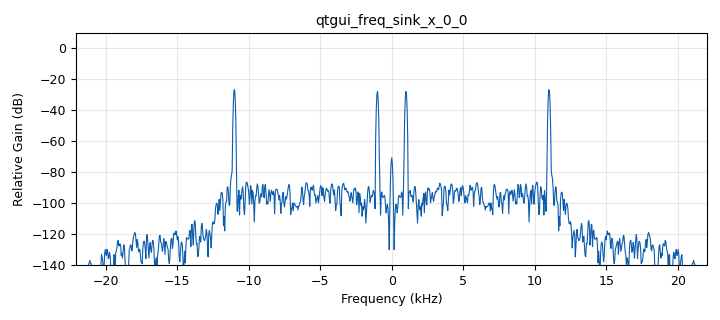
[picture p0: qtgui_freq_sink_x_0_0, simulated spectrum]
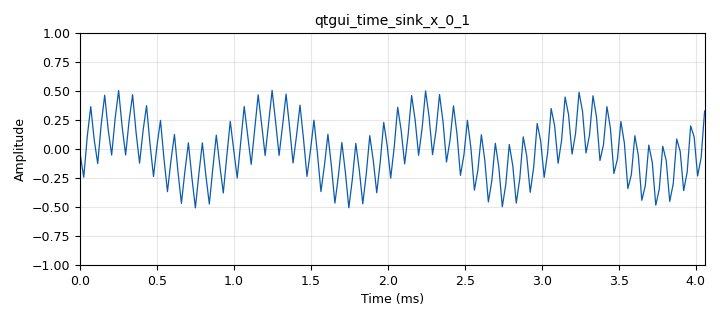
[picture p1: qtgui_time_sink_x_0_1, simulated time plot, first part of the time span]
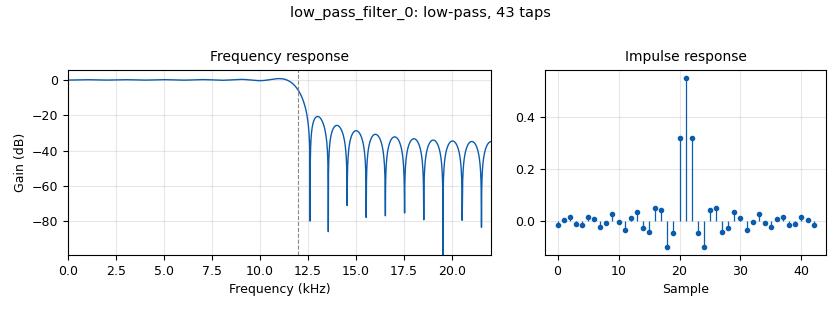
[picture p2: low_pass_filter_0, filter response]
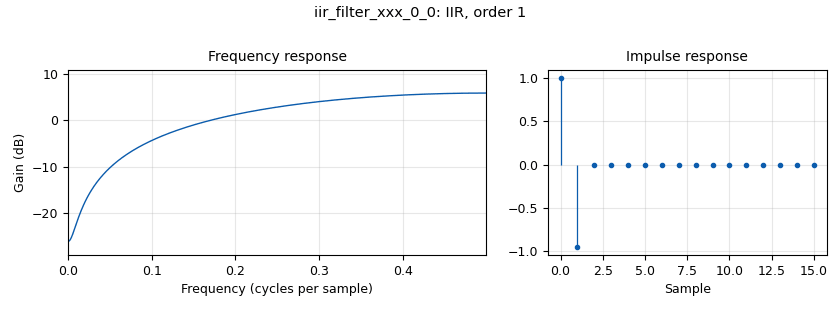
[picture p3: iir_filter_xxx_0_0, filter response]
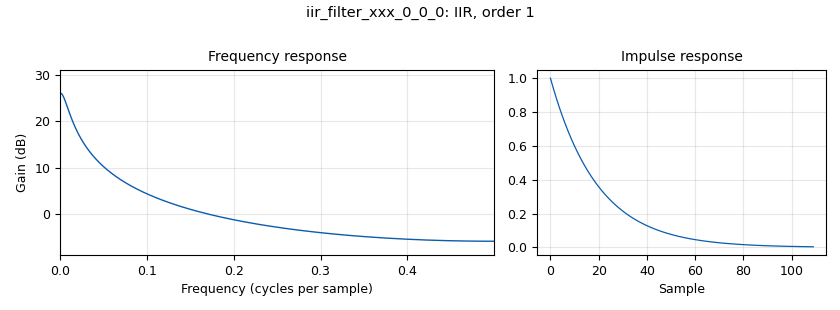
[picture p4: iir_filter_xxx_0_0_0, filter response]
options:
  parameters:
    generate_options: qt_gui
    id: lab43
    output_language: python
    title: lab4_3
  states: {}

blocks:
- name: audio_rate
  id: variable
  parameters:
    value: '48000'
  states: {}
- name: output_rate
  id: variable
  parameters:
    value: '44100'
  states: {}
- name: quad_rate
  id: variable
  parameters:
    value: '960000'
  states: {}
- name: analog_noise_source_x_0
  id: analog_noise_source_x
  parameters:
    amp: '0.2'
    noise_type: analog.GR_GAUSSIAN
    seed: '0'
    type: complex
  states: {}
- name: analog_phase_modulator_fc_0
  id: analog_phase_modulator_fc
  parameters:
    sensitivity: '471238.89803847'
  states: {}
- name: analog_sig_source_x_0
  id: analog_sig_source_x
  parameters:
    amp: '0.5'
    freq: '11000'
    offset: '0'
    phase: '0'
    samp_rate: audio_rate
    type: float
    waveform: analog.GR_COS_WAVE
  states: {}
- name: analog_sig_source_x_1
  id: analog_sig_source_x
  parameters:
    amp: '0.5'
    freq: '1000'
    offset: '0'
    phase: '0'
    samp_rate: audio_rate
    type: float
    waveform: analog.GR_COS_WAVE
  states: {}
- name: analog_sig_source_x_2
  id: analog_sig_source_x
  parameters:
    amp: '1'
    freq: '200000'
    offset: '0'
    phase: '0'
    samp_rate: quad_rate
    type: complex
    waveform: analog.GR_COS_WAVE
  states: {}
- name: blocks_add_xx_0
  id: blocks_add_xx
  parameters:
    type: float
  states: {}
- name: blocks_add_xx_2
  id: blocks_add_xx
  parameters:
    type: complex
  states: {}
- name: blocks_complex_to_arg_0
  id: blocks_complex_to_arg
  parameters: {}
  states: {}
- name: blocks_complex_to_float_0
  id: blocks_complex_to_float
  parameters: {}
  states: {state: disabled}
- name: blocks_complex_to_float_0_0
  id: blocks_complex_to_float
  parameters: {}
  states: {state: disabled}
- name: blocks_conjugate_cc_0
  id: blocks_conjugate_cc
  parameters: {}
  states: {}
- name: blocks_delay_0
  id: blocks_delay
  parameters:
    delay: '1'
    type: complex
  states: {}
- name: blocks_multiply_xx_0
  id: blocks_multiply_xx
  parameters:
    type: complex
  states: {}
- name: blocks_multiply_xx_1
  id: blocks_multiply_xx
  parameters:
    type: complex
  states: {}
- name: blocks_throttle_0
  id: blocks_throttle
  parameters:
    samples_per_second: quad_rate
    type: float
  states: {state: disabled}
- name: blocks_throttle_1
  id: blocks_throttle
  parameters:
    samples_per_second: output_rate
    type: float
  states: {}
- name: dc_blocker_xx_0
  id: dc_blocker_xx
  parameters:
    length: '32'
    long_form: 'True'
    type: ff
  states: {}
- name: iir_filter_xxx_0
  id: iir_filter_xxx
  parameters:
    fbtaps: '[1, 1]'
    fftaps: '[1/audio_rate]'
    type: ffd
  states: {}
- name: iir_filter_xxx_0_0
  id: iir_filter_xxx
  parameters:
    fbtaps: '[1]'
    fftaps: '[1, -0.95]'
    type: ffd
  states: {}
- name: iir_filter_xxx_0_0_0
  id: iir_filter_xxx
  parameters:
    fbtaps: '[1, 0.95]'
    fftaps: '1'
    type: ffd
  states: {}
- name: low_pass_filter_0
  id: low_pass_filter
  parameters:
    cutoff_freq: '12000'
    decim: '1'
    gain: '1.0'
    samp_rate: output_rate
    type: fir_filter_fff
    width: '1000'
    win: window.WIN_RECTANGULAR
  states: {}
- name: qtgui_freq_sink_x_0
  id: qtgui_freq_sink_x
  parameters:
    bw: quad_rate
    fc: '0'
    fftsize: '1024'
    type: float
  states: {state: disabled}
- name: qtgui_freq_sink_x_0_0
  id: qtgui_freq_sink_x
  parameters:
    bw: output_rate
    fc: '0'
    fftsize: '1024'
    type: float
  states: {}
- name: qtgui_time_sink_x_0
  id: qtgui_time_sink_x
  parameters:
    size: '1024'
    srate: quad_rate
    type: float
  states: {state: disabled}
- name: qtgui_time_sink_x_0_0
  id: qtgui_time_sink_x
  parameters:
    size: '1024'
    srate: quad_rate
    type: float
  states: {state: disabled}
- name: qtgui_time_sink_x_0_0_0
  id: qtgui_time_sink_x
  parameters:
    size: '1024'
    srate: quad_rate
    type: float
  states: {state: disabled}
- name: qtgui_time_sink_x_0_1
  id: qtgui_time_sink_x
  parameters:
    size: '1024'
    srate: output_rate
    type: float
  states: {}
- name: rational_resampler_xxx_0
  id: rational_resampler_xxx
  parameters:
    decim: '1'
    interp: '20'
    type: fff
  states: {}
- name: rational_resampler_xxx_1
  id: rational_resampler_xxx
  parameters:
    decim: quad_rate
    interp: output_rate
    type: fff
  states: {}

connections:
- [analog_noise_source_x_0, '0', blocks_add_xx_2, '1']
- [analog_phase_modulator_fc_0, '0', blocks_complex_to_float_0_0, '0']
- [analog_phase_modulator_fc_0, '0', blocks_multiply_xx_0, '0']
- [analog_sig_source_x_0, '0', blocks_add_xx_0, '1']
- [analog_sig_source_x_1, '0', blocks_add_xx_0, '0']
- [analog_sig_source_x_2, '0', blocks_multiply_xx_0, '1']
- [blocks_add_xx_0, '0', iir_filter_xxx_0_0, '0']
- [blocks_add_xx_2, '0', blocks_delay_0, '0']
- [blocks_add_xx_2, '0', blocks_multiply_xx_1, '1']
- [blocks_complex_to_arg_0, '0', rational_resampler_xxx_1, '0']
- [blocks_complex_to_float_0, '0', blocks_throttle_0, '0']
- [blocks_complex_to_float_0_0, '0', qtgui_time_sink_x_0_0, '0']
- [blocks_conjugate_cc_0, '0', blocks_multiply_xx_1, '0']
- [blocks_delay_0, '0', blocks_conjugate_cc_0, '0']
- [blocks_multiply_xx_0, '0', blocks_add_xx_2, '0']
- [blocks_multiply_xx_0, '0', blocks_complex_to_float_0, '0']
- [blocks_multiply_xx_1, '0', blocks_complex_to_arg_0, '0']
- [blocks_throttle_0, '0', qtgui_freq_sink_x_0, '0']
- [blocks_throttle_0, '0', qtgui_time_sink_x_0, '0']
- [blocks_throttle_1, '0', qtgui_freq_sink_x_0_0, '0']
- [blocks_throttle_1, '0', qtgui_time_sink_x_0_1, '0']
- [dc_blocker_xx_0, '0', blocks_throttle_1, '0']
- [iir_filter_xxx_0, '0', rational_resampler_xxx_0, '0']
- [iir_filter_xxx_0_0, '0', iir_filter_xxx_0, '0']
- [iir_filter_xxx_0_0_0, '0', low_pass_filter_0, '0']
- [low_pass_filter_0, '0', dc_blocker_xx_0, '0']
- [rational_resampler_xxx_0, '0', analog_phase_modulator_fc_0, '0']
- [rational_resampler_xxx_0, '0', qtgui_time_sink_x_0_0_0, '0']
- [rational_resampler_xxx_1, '0', iir_filter_xxx_0_0_0, '0']

metadata:
  file_format: 1
